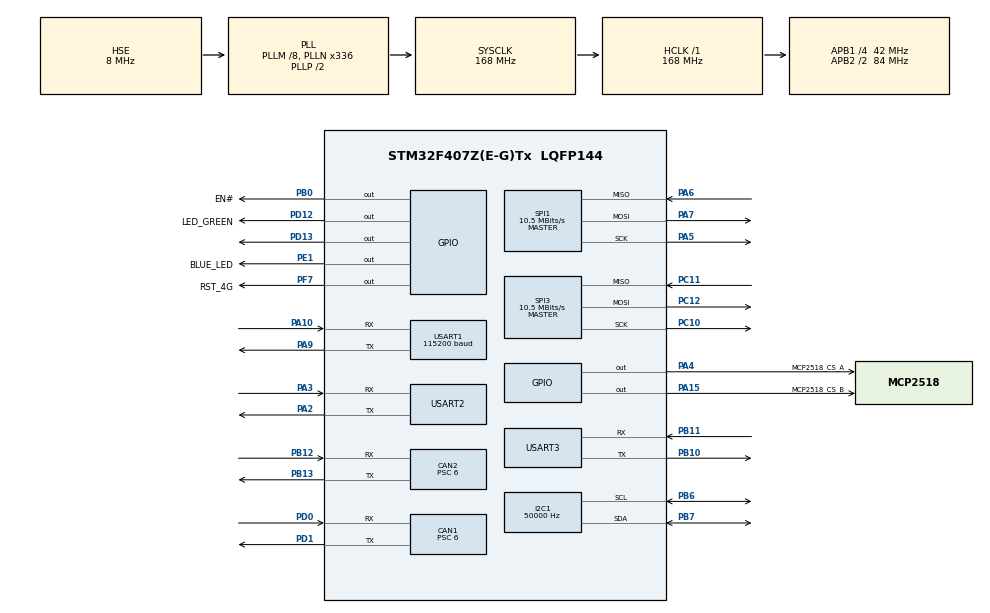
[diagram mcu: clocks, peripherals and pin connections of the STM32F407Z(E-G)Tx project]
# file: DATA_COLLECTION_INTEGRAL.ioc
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CAN1.AWUM=DISABLE
CAN1.BS1=CAN_BS1_12TQ
CAN1.CalculateBaudRate=500000
CAN1.CalculateTimeBit=2000
CAN1.CalculateTimeQuantum=142.85714285714286
CAN1.Prescaler=6
CAN1.TXFP=DISABLE
CAN2.AWUM=DISABLE
CAN2.BS1=CAN_BS1_12TQ
CAN2.CalculateBaudRate=500000
CAN2.CalculateTimeBit=2000
CAN2.CalculateTimeQuantum=142.85714285714286
CAN2.Prescaler=6
Dma.I2C1_RX.0.Direction=DMA_PERIPH_TO_MEMORY
Dma.I2C1_RX.0.FIFOMode=DMA_FIFOMODE_DISABLE
Dma.I2C1_RX.0.Instance=DMA1_Stream0
Dma.I2C1_RX.0.MemDataAlignment=DMA_MDATAALIGN_BYTE
Dma.I2C1_RX.0.MemInc=DMA_MINC_ENABLE
Dma.I2C1_RX.0.Mode=DMA_NORMAL
Dma.I2C1_RX.0.PeriphDataAlignment=DMA_PDATAALIGN_BYTE
Dma.I2C1_RX.0.PeriphInc=DMA_PINC_DISABLE
Dma.I2C1_RX.0.Priority=DMA_PRIORITY_LOW
Dma.I2C1_TX.6.Direction=DMA_MEMORY_TO_PERIPH
Dma.I2C1_TX.6.FIFOMode=DMA_FIFOMODE_DISABLE
Dma.I2C1_TX.6.Instance=DMA1_Stream6
Dma.I2C1_TX.6.MemDataAlignment=DMA_MDATAALIGN_BYTE
Dma.I2C1_TX.6.MemInc=DMA_MINC_ENABLE
Dma.I2C1_TX.6.Mode=DMA_NORMAL
Dma.I2C1_TX.6.PeriphDataAlignment=DMA_PDATAALIGN_BYTE
Dma.I2C1_TX.6.PeriphInc=DMA_PINC_DISABLE
Dma.I2C1_TX.6.Priority=DMA_PRIORITY_LOW
Dma.Request0=I2C1_RX
Dma.Request1=USART1_TX
Dma.Request2=USART2_RX
Dma.Request3=SPI1_RX
Dma.Request4=SPI3_RX
Dma.Request5=USART3_TX
Dma.Request6=I2C1_TX
Dma.Request7=SPI1_TX
Dma.Request8=SPI3_TX
Dma.Request9=USART1_RX
Dma.SPI1_RX.3.Direction=DMA_PERIPH_TO_MEMORY
Dma.SPI1_RX.3.FIFOMode=DMA_FIFOMODE_DISABLE
Dma.SPI1_RX.3.Instance=DMA2_Stream2
Dma.SPI1_RX.3.MemDataAlignment=DMA_MDATAALIGN_BYTE
Dma.SPI1_RX.3.MemInc=DMA_MINC_ENABLE
Dma.SPI1_RX.3.Mode=DMA_NORMAL
Dma.SPI1_RX.3.PeriphDataAlignment=DMA_PDATAALIGN_BYTE
Dma.SPI1_RX.3.PeriphInc=DMA_PINC_DISABLE
Dma.SPI1_RX.3.Priority=DMA_PRIORITY_LOW
Dma.SPI1_TX.7.Direction=DMA_MEMORY_TO_PERIPH
Dma.SPI1_TX.7.FIFOMode=DMA_FIFOMODE_DISABLE
Dma.SPI1_TX.7.Instance=DMA2_Stream3
Dma.SPI1_TX.7.MemDataAlignment=DMA_MDATAALIGN_BYTE
Dma.SPI1_TX.7.MemInc=DMA_MINC_ENABLE
Dma.SPI1_TX.7.Mode=DMA_NORMAL
Dma.SPI1_TX.7.PeriphDataAlignment=DMA_PDATAALIGN_BYTE
Dma.SPI1_TX.7.PeriphInc=DMA_PINC_DISABLE
Dma.SPI1_TX.7.Priority=DMA_PRIORITY_LOW
Dma.SPI3_RX.4.Direction=DMA_PERIPH_TO_MEMORY
Dma.SPI3_RX.4.FIFOMode=DMA_FIFOMODE_DISABLE
Dma.SPI3_RX.4.Instance=DMA1_Stream2
Dma.SPI3_RX.4.MemDataAlignment=DMA_MDATAALIGN_BYTE
Dma.SPI3_RX.4.MemInc=DMA_MINC_ENABLE
Dma.SPI3_RX.4.Mode=DMA_NORMAL
Dma.SPI3_RX.4.PeriphDataAlignment=DMA_PDATAALIGN_BYTE
Dma.SPI3_RX.4.PeriphInc=DMA_PINC_DISABLE
Dma.SPI3_RX.4.Priority=DMA_PRIORITY_MEDIUM
Dma.SPI3_TX.8.Direction=DMA_MEMORY_TO_PERIPH
Dma.SPI3_TX.8.FIFOMode=DMA_FIFOMODE_DISABLE
Dma.SPI3_TX.8.Instance=DMA1_Stream7
Dma.SPI3_TX.8.MemDataAlignment=DMA_MDATAALIGN_BYTE
Dma.SPI3_TX.8.MemInc=DMA_MINC_ENABLE
Dma.SPI3_TX.8.Mode=DMA_NORMAL
Dma.SPI3_TX.8.PeriphDataAlignment=DMA_PDATAALIGN_BYTE
Dma.SPI3_TX.8.PeriphInc=DMA_PINC_DISABLE
Dma.SPI3_TX.8.Priority=DMA_PRIORITY_MEDIUM
Dma.USART1_RX.9.Direction=DMA_PERIPH_TO_MEMORY
Dma.USART1_RX.9.FIFOMode=DMA_FIFOMODE_DISABLE
Dma.USART1_RX.9.Instance=DMA2_Stream5
Dma.USART1_RX.9.MemDataAlignment=DMA_MDATAALIGN_BYTE
Dma.USART1_RX.9.MemInc=DMA_MINC_ENABLE
Dma.USART1_RX.9.Mode=DMA_CIRCULAR
Dma.USART1_RX.9.PeriphDataAlignment=DMA_PDATAALIGN_BYTE
Dma.USART1_RX.9.PeriphInc=DMA_PINC_DISABLE
Dma.USART1_RX.9.Priority=DMA_PRIORITY_MEDIUM
Dma.USART1_TX.1.Direction=DMA_MEMORY_TO_PERIPH
Dma.USART1_TX.1.FIFOMode=DMA_FIFOMODE_DISABLE
Dma.USART1_TX.1.Instance=DMA2_Stream7
Dma.USART1_TX.1.MemDataAlignment=DMA_MDATAALIGN_BYTE
Dma.USART1_TX.1.MemInc=DMA_MINC_ENABLE
Dma.USART1_TX.1.Mode=DMA_NORMAL
Dma.USART1_TX.1.PeriphDataAlignment=DMA_PDATAALIGN_BYTE
Dma.USART1_TX.1.PeriphInc=DMA_PINC_DISABLE
Dma.USART1_TX.1.Priority=DMA_PRIORITY_HIGH
Dma.USART2_RX.2.Direction=DMA_PERIPH_TO_MEMORY
Dma.USART2_RX.2.FIFOMode=DMA_FIFOMODE_DISABLE
Dma.USART2_RX.2.Instance=DMA1_Stream5
Dma.USART2_RX.2.MemDataAlignment=DMA_MDATAALIGN_BYTE
Dma.USART2_RX.2.MemInc=DMA_MINC_ENABLE
Dma.USART2_RX.2.Mode=DMA_NORMAL
Dma.USART2_RX.2.PeriphDataAlignment=DMA_PDATAALIGN_BYTE
Dma.USART2_RX.2.PeriphInc=DMA_PINC_DISABLE
Dma.USART2_RX.2.Priority=DMA_PRIORITY_MEDIUM
Dma.USART3_TX.5.Direction=DMA_MEMORY_TO_PERIPH
Dma.USART3_TX.5.FIFOMode=DMA_FIFOMODE_DISABLE
Dma.USART3_TX.5.Instance=DMA1_Stream3
Dma.USART3_TX.5.MemDataAlignment=DMA_MDATAALIGN_BYTE
Dma.USART3_TX.5.MemInc=DMA_MINC_ENABLE
Dma.USART3_TX.5.Mode=DMA_NORMAL
Dma.USART3_TX.5.PeriphDataAlignment=DMA_PDATAALIGN_BYTE
Dma.USART3_TX.5.PeriphInc=DMA_PINC_DISABLE
Dma.USART3_TX.5.Priority=DMA_PRIORITY_LOW
FREERTOS.Queues01=App_Uart_Tx,2,App_Uart_Tx_Item_t,0,Static,App_Uart_TxBuffer,App_Uart_TxControlBlock;CAN_Msg_Queue,16,CAN_Msg_Queue_t,0,Static,CAN_Msg_QueueBuffer,CAN_Msg_QueueControlBlock;CAN_Msg_Queue_2,16,CAN_Msg_Queue_t,0,Static,CAN_Msg_Queue_2Buffer,CAN_Msg_Queue_2ControlBlock;PublishQueueItem,16,PublishQueueItem_t,0,Static,PublishQueueItemBuffer,PublishQueueItemControlBlock;VehicleCanTxQueue,8,CAN_Tx_Queue_t,0,Static,VehicleCanTxQueueBuffer,VehicleCanTxQueueControlBlock;task01DebugQueue,2,App_Uart_Tx_Item_t,0,Static,task01DebugQueueBuffer,task01DebugQueueControlBlock
FREERTOS.Tasks01=defaultTask,48,192,StartDefaultTask,Default,NULL,Static,defaultTaskBuffer,defaultTaskControlBlock;CanForViehcle,40,128,CanForViehcleTask,Default,NULL,Static,CanForViehcleBuffer,CanForViehcleControlBlock;CanForBMS,40,128,CanForBMSTask,Default,NULL,Static,CanForBMSTaskBuffer,CanForBMSTaskControlBlock;MLX90640,32,384,MLX90640Task,Default,NULL,Static,MLX90640Buffer,MLX90640ControlBlock;TensionSensor,8,128,TensionSensorTask,Default,NULL,Static,TensionSensorBuffer,TensionSensorControlBlock;SPICanControl,32,128,SPICanControlTask,Default,NULL,Static,SPICanControlBuffer,SPICanControlControlBlock;SPICanCDC,8,128,SPICanCDCTask,Default,NULL,Static,SPICanCDCBuffer,SPICanCDCControlBlock;Publish4G,48,192,Publish4GTask,Default,NULL,Static,Publish4GBuffer,Publish4GControlBlock;CanBText,48,512,CanBTextTask,Default,NULL,Static,CanBTextBuffer,CanBTextControlBlock;initTaskBoot,55,384,InitTask_Boot,Default,NULL,Static,initTaskBootBuffer,initTaskBootControlBlock
FREERTOS.configUSE_NEWLIB_REENTRANT=1
I2C1.ClockSpeed=50000
I2C1.I2C_Mode=I2C_Standard
Mcu.Family=STM32F4
Mcu.Name=STM32F407Z(E-G)Tx
Mcu.Package=LQFP144
NVIC.CAN1_RX0_IRQn=true\:5\:0\:false\:false\:true\:true\:true\:true\:true
NVIC.CAN1_RX1_IRQn=true\:5\:0\:false\:false\:true\:true\:true\:true\:true
NVIC.CAN1_SCE_IRQn=true\:5\:0\:false\:false\:true\:true\:true\:true\:true
NVIC.CAN2_RX0_IRQn=true\:5\:0\:false\:false\:true\:true\:true\:true\:true
NVIC.CAN2_RX1_IRQn=true\:5\:0\:false\:false\:true\:true\:true\:true\:true
NVIC.CAN2_SCE_IRQn=true\:5\:0\:false\:false\:true\:true\:true\:true\:true
NVIC.DMA1_Stream0_IRQn=true\:5\:0\:false\:false\:true\:true\:false\:true\:true
NVIC.DMA1_Stream2_IRQn=true\:5\:0\:false\:false\:true\:true\:false\:true\:true
NVIC.DMA1_Stream3_IRQn=true\:5\:0\:false\:false\:true\:true\:false\:true\:true
NVIC.DMA1_Stream5_IRQn=true\:5\:0\:false\:false\:true\:true\:false\:true\:true
NVIC.DMA1_Stream6_IRQn=true\:5\:0\:false\:false\:true\:true\:false\:true\:true
NVIC.DMA1_Stream7_IRQn=true\:5\:0\:false\:false\:true\:true\:false\:true\:true
NVIC.DMA2_Stream2_IRQn=true\:5\:0\:false\:false\:true\:true\:false\:true\:true
NVIC.DMA2_Stream3_IRQn=true\:5\:0\:false\:false\:true\:false\:false\:true\:true
NVIC.DMA2_Stream5_IRQn=true\:5\:0\:false\:false\:true\:false\:false\:true\:true
NVIC.DMA2_Stream7_IRQn=true\:5\:0\:false\:false\:true\:true\:false\:true\:true
NVIC.I2C1_ER_IRQn=true\:5\:0\:false\:false\:true\:true\:true\:true\:true
NVIC.I2C1_EV_IRQn=true\:5\:0\:false\:false\:true\:true\:true\:true\:true
NVIC.PriorityGroup=NVIC_PRIORITYGROUP_4
NVIC.TIM8_UP_TIM13_IRQn=true\:15\:0\:false\:false\:true\:false\:false\:true\:true
NVIC.TimeBase=TIM8_UP_TIM13_IRQn
NVIC.TimeBaseIP=TIM8
PA10.GPIO_PuPd=GPIO_PULLUP
PA10.Mode=Asynchronous
PA10.Signal=USART1_RX
PA13.Mode=Serial_Wire
PA13.Signal=SYS_JTMS-SWDIO
PA14.Mode=Serial_Wire
PA14.Signal=SYS_JTCK-SWCLK
PA15.GPIO_Label=MCP2518_CS_B
PA15.Signal=GPIO_Output
PA2.Mode=Asynchronous
PA2.Signal=USART2_TX
PA3.Mode=Asynchronous
PA3.Signal=USART2_RX
PA4.GPIO_Label=MCP2518_CS_A
PA4.Signal=GPIO_Output
PA5.Mode=Full_Duplex_Master
PA5.Signal=SPI1_SCK
PA6.Mode=Full_Duplex_Master
PA6.Signal=SPI1_MISO
PA7.Mode=Full_Duplex_Master
PA7.Signal=SPI1_MOSI
PA9.Mode=Asynchronous
PA9.Signal=USART1_TX
PB0.GPIO_Label=EN\#
PB0.Signal=GPIO_Output
PB10.Mode=Asynchronous
PB10.Signal=USART3_TX
PB11.Mode=Asynchronous
PB11.Signal=USART3_RX
PB12.GPIO_PuPd=GPIO_PULLUP
PB12.Mode=CAN_Activate
PB12.Signal=CAN2_RX
PB13.GPIO_PuPd=GPIO_PULLUP
PB13.Mode=CAN_Activate
PB13.Signal=CAN2_TX
PB6.Mode=I2C
PB6.Signal=I2C1_SCL
PB7.Mode=I2C
PB7.Signal=I2C1_SDA
PC10.Mode=Full_Duplex_Master
PC10.Signal=SPI3_SCK
PC11.Mode=Full_Duplex_Master
PC11.Signal=SPI3_MISO
PC12.Mode=Full_Duplex_Master
PC12.Signal=SPI3_MOSI
PC14-OSC32_IN.Mode=LSE-External-Oscillator
PC14-OSC32_IN.Signal=RCC_OSC32_IN
PC15-OSC32_OUT.Mode=LSE-External-Oscillator
PC15-OSC32_OUT.Signal=RCC_OSC32_OUT
PD0.GPIO_PuPd=GPIO_PULLUP
PD0.GPIO_Speed=GPIO_SPEED_FREQ_MEDIUM
PD0.Mode=CAN_Activate
PD0.Signal=CAN1_RX
PD1.GPIO_PuPd=GPIO_NOPULL
PD1.GPIO_Speed=GPIO_SPEED_FREQ_MEDIUM
PD1.Mode=CAN_Activate
PD1.Signal=CAN1_TX
PD12.GPIO_Label=LED_GREEN
PD12.Signal=GPIO_Output
PD13.Signal=GPIO_Output
PE1.GPIO_Label=BLUE_LED
PE1.Signal=GPIO_Output
PF7.GPIO_Label=RST_4G
PF7.Signal=GPIO_Output
PH0-OSC_IN.Mode=HSE-External-Oscillator
PH0-OSC_IN.Signal=RCC_OSC_IN
PH1-OSC_OUT.Mode=HSE-External-Oscillator
PH1-OSC_OUT.Signal=RCC_OSC_OUT
ProjectManager.HeapSize=0x200
ProjectManager.StackSize=0x400
ProjectManager.TargetToolchain=STM32CubeIDE
RCC.48MHZClocksFreq_Value=48000000
RCC.AHBFreq_Value=168000000
RCC.APB1CLKDivider=RCC_HCLK_DIV4
RCC.APB1Freq_Value=42000000
RCC.APB1TimFreq_Value=84000000
RCC.APB2CLKDivider=RCC_HCLK_DIV2
RCC.APB2Freq_Value=84000000
RCC.APB2TimFreq_Value=168000000
RCC.CortexFreq_Value=168000000
RCC.HCLKFreq_Value=168000000
RCC.HSE_VALUE=8000000
RCC.HSI_VALUE=16000000
RCC.PLLM=8
RCC.PLLN=336
RCC.PLLQ=7
RCC.PLLSourceVirtual=RCC_PLLSOURCE_HSE
RCC.RCC_RTC_Clock_Source=RCC_RTCCLKSOURCE_LSE
RCC.RCC_RTC_Clock_SourceVirtual=RCC_RTCCLKSOURCE_LSE
RCC.SYSCLKFreq_VALUE=168000000
RCC.SYSCLKSource=RCC_SYSCLKSOURCE_PLLCLK
RCC.VCOOutputFreq_Value=336000000
SPI1.BaudRatePrescaler=SPI_BAUDRATEPRESCALER_8
SPI1.CalculateBaudRate=10.5 MBits/s
SPI1.Direction=SPI_DIRECTION_2LINES
SPI1.Mode=SPI_MODE_MASTER
SPI1.VirtualType=VM_MASTER
SPI3.BaudRatePrescaler=SPI_BAUDRATEPRESCALER_4
SPI3.CalculateBaudRate=10.5 MBits/s
SPI3.Direction=SPI_DIRECTION_2LINES
SPI3.Mode=SPI_MODE_MASTER
SPI3.VirtualType=VM_MASTER
USART1.BaudRate=115200
USART1.VirtualMode=VM_ASYNC
USART2.VirtualMode=VM_ASYNC
USART3.VirtualMode=VM_ASYNC
VP_FREERTOS_VS_CMSIS_V2.Mode=CMSIS_V2
VP_SYS_VS_tim8.Mode=TIM8
board=custom

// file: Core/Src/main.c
/* USER CODE BEGIN Header */
/**
  ******************************************************************************
  * @file           : main.c
  * @brief          : Main program body
  ******************************************************************************
  * @attention
  *
  * Copyright (c) 2025 STMicroelectronics.
  * All rights reserved.
  *
  * This software is licensed under terms that can be found in the LICENSE file
  * in the root directory of this software component.
  * If no LICENSE file comes with this software, it is provided AS-IS.
  *
  ******************************************************************************
  */
/* USER CODE END Header */
#include "main.h"
#include "cmsis_os.h"
#include "can.h"
#include "dma.h"
#include "i2c.h"
#include "spi.h"
#include "usart.h"
#include "gpio.h"

/* USER CODE BEGIN Includes */
#include "stdio.h"
/* USER CODE END Includes */

void SystemClock_Config(void);
void MX_FREERTOS_Init(void);

int main(void)
{

  /* MCU Configuration--------------------------------------------------------*/

  /* Reset of all peripherals, Initializes the Flash interface and the Systick. */
  HAL_Init();

  /* Configure the system clock */
  SystemClock_Config();

  /* Initialize all configured peripherals */
  MX_GPIO_Init();
  MX_DMA_Init();
  MX_CAN1_Init();
  MX_CAN2_Init();
  MX_USART1_UART_Init();
  MX_I2C1_Init();
  MX_SPI1_Init();
  MX_USART2_UART_Init();
  MX_USART3_UART_Init();
  MX_SPI3_Init();
  /* USER CODE BEGIN 2 */

  /* 上电先拉高LED一次，用于确认主函数已运行到这里（toggle仍在RTOS任务中做） */
  HAL_GPIO_WritePin(GPIOD, GPIO_PIN_12, GPIO_PIN_SET);
  HAL_GPIO_WritePin(GPIOD, GPIO_PIN_13, GPIO_PIN_SET);

  /* MAX485: 默认置为“读/接收”模式（#EN=0） */
  HAL_GPIO_WritePin(EN_GPIO_Port, EN_Pin, GPIO_PIN_RESET);

  /* USER CODE END 2 */

  /* Init scheduler */
  osKernelInitialize();  /* Call init function for freertos objects (in cmsis_os2.c) */
  MX_FREERTOS_Init();

  /* Start scheduler */
  osKernelStart();

  /* We should never get here as control is now taken by the scheduler */

  /* Infinite loop */
  while (1)
  {

  }
}

void SystemClock_Config(void)
{
  RCC_OscInitTypeDef RCC_OscInitStruct = {0};
  RCC_ClkInitTypeDef RCC_ClkInitStruct = {0};

  /** Configure the main internal regulator output voltage
  */
  __HAL_RCC_PWR_CLK_ENABLE();
  __HAL_PWR_VOLTAGESCALING_CONFIG(PWR_REGULATOR_VOLTAGE_SCALE1);

  /** Initializes the RCC Oscillators according to the specified parameters
  * in the RCC_OscInitTypeDef structure.
  */
  RCC_OscInitStruct.OscillatorType = RCC_OSCILLATORTYPE_HSE;
  RCC_OscInitStruct.HSEState = RCC_HSE_ON;
  RCC_OscInitStruct.PLL.PLLState = RCC_PLL_ON;
  RCC_OscInitStruct.PLL.PLLSource = RCC_PLLSOURCE_HSE;
  RCC_OscInitStruct.PLL.PLLM = 8;
  RCC_OscInitStruct.PLL.PLLN = 336;
  RCC_OscInitStruct.PLL.PLLP = RCC_PLLP_DIV2;
  RCC_OscInitStruct.PLL.PLLQ = 7;
  if (HAL_RCC_OscConfig(&RCC_OscInitStruct) != HAL_OK)
  {
    Error_Handler();
  }

  /** Initializes the CPU, AHB and APB buses clocks
  */
  RCC_ClkInitStruct.ClockType = RCC_CLOCKTYPE_HCLK|RCC_CLOCKTYPE_SYSCLK
                              |RCC_CLOCKTYPE_PCLK1|RCC_CLOCKTYPE_PCLK2;
  RCC_ClkInitStruct.SYSCLKSource = RCC_SYSCLKSOURCE_PLLCLK;
  RCC_ClkInitStruct.AHBCLKDivider = RCC_SYSCLK_DIV1;
  RCC_ClkInitStruct.APB1CLKDivider = RCC_HCLK_DIV4;
  RCC_ClkInitStruct.APB2CLKDivider = RCC_HCLK_DIV2;

  if (HAL_RCC_ClockConfig(&RCC_ClkInitStruct, FLASH_LATENCY_5) != HAL_OK)
  {
    Error_Handler();
  }
}

void HAL_TIM_PeriodElapsedCallback(TIM_HandleTypeDef *htim)
{
  if (htim->Instance == TIM8)
  {
    HAL_IncTick();
  }
}

void Error_Handler(void)
{
  /* USER CODE BEGIN Error_Handler_Debug */
  /* User can add his own implementation to report the HAL error return state */
  __disable_irq();
  while (1)
  {
    HAL_GPIO_TogglePin(GPIOD, GPIO_PIN_13);
    for (volatile uint32_t delay = 0U; delay < 3000000U; delay++)
    {
    }
  }
  /* USER CODE END Error_Handler_Debug */
}

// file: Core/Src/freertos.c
/* USER CODE BEGIN Header */
/**
  ******************************************************************************
  * File Name          : freertos.c
  * Description        : Code for freertos applications
  ******************************************************************************
  * @attention
  *
  * Copyright (c) 2025 STMicroelectronics.
  * All rights reserved.
  *
  * This software is licensed under terms that can be found in the LICENSE file
  * in the root directory of this software component.
  * If no LICENSE file comes with this software, it is provided AS-IS.
  *
  ******************************************************************************
  */
/* USER CODE END Header */

#include "FreeRTOS.h"
#include "task.h"
#include "main.h"
#include "cmsis_os.h"

/* USER CODE BEGIN Includes */
#include "telemetry_data.h"
#include "can.h"
#include "can_decode.h"
#include "fdcan.h"
#include "gpio.h"
#include "mlx90640_app.h"
#include "MLX90640_API.h"
#include "publish.h"
#include "spi.h"
#include "usart.h"
#include "modem_transport.h"
#include "app_log.h"
#include "app_config.h"
#include "queue.h"
#include <string.h>
#include <stdbool.h>
#include "freertos_app.h"
/* USER CODE END Includes */

typedef StaticTask_t osStaticThreadDef_t;
typedef StaticQueue_t osStaticMessageQDef_t;

/* USER CODE BEGIN PD */
#define APP_4G_PUBLISH_LOG_ENABLED       0U
#define APP_SPICANA_READY_CHECK_ENABLED  1U
#define APP_SPICANA_POLL_ENABLED         1U
#define APP_SPICANA_DECODE_ENABLED       1U
#define APP_SPICANA_PUBLISH_ENABLED      1U
#define APP_MLX90640_PUBLISH_ENABLED     1U
#define APP_SPICDC_TASK_ENABLED          1U

/* USER CODE END PD */

/* USER CODE BEGIN Variables */
static volatile uint8_t g_bootInitDone = 0U;
static uint8_t g_mlxCurrentSensor = 0U;
static uint8_t g_rs485DmaBuffer[RS485_DMA_BUFFER_SIZE];
static volatile uint16_t g_rs485DmaLastEventPos = 0U;
static volatile uint16_t g_rs485DmaPendingBytes = 0U;
static volatile uint8_t g_rs485DmaOverflow = 0U;
static uint16_t g_rs485DmaReadPos = 0U;
#if APP_UPLINK_ENABLED
static uint8_t g_publishFrameBuffer[PUBLISH_MAX_PAYLOAD_SIZE];
static volatile uint16_t g_diagPublishPayloadLen = 0U;
static volatile int g_diagPublishStatus = 0;
static volatile uint32_t g_diagPublishOkCount = 0U;
static volatile uint32_t g_diagPublishFailCount = 0U;
#endif
/* USER CODE END Variables */
/* Definitions for defaultTask */
osThreadId_t defaultTaskHandle;
uint32_t defaultTaskBuffer[ 192 ];
osStaticThreadDef_t defaultTaskControlBlock;
const osThreadAttr_t defaultTask_attributes = {
  .name = "defaultTask",
  .cb_mem = &defaultTaskControlBlock,
  .cb_size = sizeof(defaultTaskControlBlock),
  .stack_mem = &defaultTaskBuffer[0],
  .stack_size = sizeof(defaultTaskBuffer),
  .priority = (osPriority_t) osPriorityRealtime,
};
/* Definitions for CanForViehcle */
osThreadId_t CanForViehcleHandle;
uint32_t CanForViehcleBuffer[ 128 ];
osStaticThreadDef_t CanForViehcleControlBlock;
const osThreadAttr_t CanForViehcle_attributes = {
  .name = "CanForViehcle",
  .cb_mem = &CanForViehcleControlBlock,
  .cb_size = sizeof(CanForViehcleControlBlock),
  .stack_mem = &CanForViehcleBuffer[0],
  .stack_size = sizeof(CanForViehcleBuffer),
  .priority = (osPriority_t) osPriorityHigh,
};
/* Definitions for CanForBMS */
osThreadId_t CanForBMSHandle;
uint32_t CanForBMSTaskBuffer[ 128 ];
osStaticThreadDef_t CanForBMSTaskControlBlock;
const osThreadAttr_t CanForBMS_attributes = {
  .name = "CanForBMS",
  .cb_mem = &CanForBMSTaskControlBlock,
  .cb_size = sizeof(CanForBMSTaskControlBlock),
  .stack_mem = &CanForBMSTaskBuffer[0],
  .stack_size = sizeof(CanForBMSTaskBuffer),
  .priority = (osPriority_t) osPriorityHigh,
};
/* Definitions for MLX90640 */
osThreadId_t MLX90640Handle;
uint32_t MLX90640Buffer[ 384 ];
osStaticThreadDef_t MLX90640ControlBlock;
const osThreadAttr_t MLX90640_attributes = {
  .name = "MLX90640",
  .cb_mem = &MLX90640ControlBlock,
  .cb_size = sizeof(MLX90640ControlBlock),
  .stack_mem = &MLX90640Buffer[0],
  .stack_size = sizeof(MLX90640Buffer),
  .priority = (osPriority_t) osPriorityAboveNormal,
};
/* Definitions for TensionSensor */
osThreadId_t TensionSensorHandle;
uint32_t TensionSensorBuffer[ 128 ];
osStaticThreadDef_t TensionSensorControlBlock;
const osThreadAttr_t TensionSensor_attributes = {
  .name = "TensionSensor",
  .cb_mem = &TensionSensorControlBlock,
  .cb_size = sizeof(TensionSensorControlBlock),
  .stack_mem = &TensionSensorBuffer[0],
  .stack_size = sizeof(TensionSensorBuffer),
  .priority = (osPriority_t) osPriorityLow,
};
/* Definitions for SPICanControl */
osThreadId_t SPICanControlHandle;
uint32_t SPICanControlBuffer[ 128 ];
osStaticThreadDef_t SPICanControlControlBlock;
const osThreadAttr_t SPICanControl_attributes = {
  .name = "SPICanControl",
  .cb_mem = &SPICanControlControlBlock,
  .cb_size = sizeof(SPICanControlControlBlock),
  .stack_mem = &SPICanControlBuffer[0],
  .stack_size = sizeof(SPICanControlBuffer),
  .priority = (osPriority_t) osPriorityAboveNormal,
};
/* Definitions for SPICanCDC */
osThreadId_t SPICanCDCHandle;
uint32_t SPICanCDCBuffer[ 128 ];
osStaticThreadDef_t SPICanCDCControlBlock;
const osThreadAttr_t SPICanCDC_attributes = {
  .name = "SPICanCDC",
  .cb_mem = &SPICanCDCControlBlock,
  .cb_size = sizeof(SPICanCDCControlBlock),
  .stack_mem = &SPICanCDCBuffer[0],
  .stack_size = sizeof(SPICanCDCBuffer),
  .priority = (osPriority_t) osPriorityLow,
};
/* Definitions for Publish4G */
osThreadId_t Publish4GHandle;
uint32_t Publish4GBuffer[ 192 ];
osStaticThreadDef_t Publish4GControlBlock;
const osThreadAttr_t Publish4G_attributes = {
  .name = "Publish4G",
  .cb_mem = &Publish4GControlBlock,
  .cb_size = sizeof(Publish4GControlBlock),
  .stack_mem = &Publish4GBuffer[0],
  .stack_size = sizeof(Publish4GBuffer),
  .priority = (osPriority_t) osPriorityRealtime,
};
/* Definitions for CanBText */
osThreadId_t CanBTextHandle;
uint32_t CanBTextBuffer[ 512 ];
osStaticThreadDef_t CanBTextControlBlock;
const osThreadAttr_t CanBText_attributes = {
  .name = "CanBText",
  .cb_mem = &CanBTextControlBlock,
  .cb_size = sizeof(CanBTextControlBlock),
  .stack_mem = &CanBTextBuffer[0],
  .stack_size = sizeof(CanBTextBuffer),
  .priority = (osPriority_t) osPriorityRealtime,
};
/* Definitions for initTaskBoot */
osThreadId_t initTaskBootHandle;
uint32_t initTaskBootBuffer[ 384 ];
osStaticThreadDef_t initTaskBootControlBlock;
const osThreadAttr_t initTaskBoot_attributes = {
  .name = "initTaskBoot",
  .cb_mem = &initTaskBootControlBlock,
  .cb_size = sizeof(initTaskBootControlBlock),
  .stack_mem = &initTaskBootBuffer[0],
  .stack_size = sizeof(initTaskBootBuffer),
  .priority = (osPriority_t) osPriorityRealtime7,
};
/* Definitions for App_Uart_Tx */
osMessageQueueId_t App_Uart_TxHandle;
uint8_t App_Uart_TxBuffer[ 2 * sizeof( App_Uart_Tx_Item_t ) ];
osStaticMessageQDef_t App_Uart_TxControlBlock;
const osMessageQueueAttr_t App_Uart_Tx_attributes = {
  .name = "App_Uart_Tx",
  .cb_mem = &App_Uart_TxControlBlock,
  .cb_size = sizeof(App_Uart_TxControlBlock),
  .mq_mem = &App_Uart_TxBuffer,
  .mq_size = sizeof(App_Uart_TxBuffer)
};
/* Definitions for CAN_Msg_Queue */
osMessageQueueId_t CAN_Msg_QueueHandle;
uint8_t CAN_Msg_QueueBuffer[ 16 * sizeof( CAN_Msg_Queue_t ) ];
osStaticMessageQDef_t CAN_Msg_QueueControlBlock;
const osMessageQueueAttr_t CAN_Msg_Queue_attributes = {
  .name = "CAN_Msg_Queue",
  .cb_mem = &CAN_Msg_QueueControlBlock,
  .cb_size = sizeof(CAN_Msg_QueueControlBlock),
  .mq_mem = &CAN_Msg_QueueBuffer,
  .mq_size = sizeof(CAN_Msg_QueueBuffer)
};
/* Definitions for CAN_Msg_Queue_2 */
osMessageQueueId_t CAN_Msg_Queue_2Handle;
uint8_t CAN_Msg_Queue_2Buffer[ 16 * sizeof( CAN_Msg_Queue_t ) ];
osStaticMessageQDef_t CAN_Msg_Queue_2ControlBlock;
const osMessageQueueAttr_t CAN_Msg_Queue_2_attributes = {
  .name = "CAN_Msg_Queue_2",
  .cb_mem = &CAN_Msg_Queue_2ControlBlock,
  .cb_size = sizeof(CAN_Msg_Queue_2ControlBlock),
  .mq_mem = &CAN_Msg_Queue_2Buffer,
  .mq_size = sizeof(CAN_Msg_Queue_2Buffer)
};
/* Definitions for PublishQueueItem */
osMessageQueueId_t PublishQueueItemHandle;
uint8_t PublishQueueItemBuffer[ 16 * sizeof( PublishQueueItem_t ) ];
osStaticMessageQDef_t PublishQueueItemControlBlock;
const osMessageQueueAttr_t PublishQueueItem_attributes = {
  .name = "PublishQueueItem",
  .cb_mem = &PublishQueueItemControlBlock,
  .cb_size = sizeof(PublishQueueItemControlBlock),
  .mq_mem = &PublishQueueItemBuffer,
  .mq_size = sizeof(PublishQueueItemBuffer)
};
/* Definitions for VehicleCanTxQueue */
osMessageQueueId_t VehicleCanTxQueueHandle;
uint8_t VehicleCanTxQueueBuffer[ 8 * sizeof( CAN_Tx_Queue_t ) ];
osStaticMessageQDef_t VehicleCanTxQueueControlBlock;
const osMessageQueueAttr_t VehicleCanTxQueue_attributes = {
  .name = "VehicleCanTxQueue",
  .cb_mem = &VehicleCanTxQueueControlBlock,
  .cb_size = sizeof(VehicleCanTxQueueControlBlock),
  .mq_mem = &VehicleCanTxQueueBuffer,
  .mq_size = sizeof(VehicleCanTxQueueBuffer)
};
/* Definitions for task01DebugQueue */
osMessageQueueId_t task01DebugQueueHandle;
uint8_t task01DebugQueueBuffer[ 2 * sizeof( App_Uart_Tx_Item_t ) ];
osStaticMessageQDef_t task01DebugQueueControlBlock;
const osMessageQueueAttr_t task01DebugQueue_attributes = {
  .name = "task01DebugQueue",
  .cb_mem = &task01DebugQueueControlBlock,
  .cb_size = sizeof(task01DebugQueueControlBlock),
  .mq_mem = &task01DebugQueueBuffer,
  .mq_size = sizeof(task01DebugQueueBuffer)
};

/* USER CODE BEGIN FunctionPrototypes */
static void App_WaitForBootInit(void);
static void CanVehicle_Dispatch(const CAN_Msg_Queue_t *recv_data);
static void CanBattery_Dispatch(const CAN_Msg_Queue_t *recv_data);
static void Rs485_Dispatch(const Peripheral_Rx_Frame_t *recv_data);
static void SpiCana_Dispatch(const Peripheral_Rx_Frame_t *recv_data);
static void SpiCdc_Dispatch(const Peripheral_Rx_Frame_t *recv_data);
static void VehicleCan_Send(const CAN_Tx_Queue_t *tx_data);

static void Mlx_SendSummary(uint8_t sensor_id);
static void Mlx_SendCanSummary(uint8_t sensor_id);
static uint32_t Mlx_GetCanSummaryId(uint8_t sensor_id);
static void Mlx_EncodeCanSummaryPair(int32_t centi_c, uint8_t *integer_part, uint8_t *fraction_part);
static void SpiCan_PollToQueue(const Peripheral_Rx_Frame_t *recv_data, FDCAN_Bus_t bus, osMessageQueueId_t queue_handle, uint8_t can_channel);
static bool SpiCana_Poll(const Peripheral_Rx_Frame_t *recv_data, FDCAN_Bus_t bus);
static void SpiCdc_Poll(const Peripheral_Rx_Frame_t *recv_data, FDCAN_Bus_t bus);
static HAL_StatusTypeDef Rs485_StartDma(void);
static void Rs485_DrainDmaBuffer(void);
static void Rs485_ProcessSpan(uint16_t start, uint16_t end);
static void Rs485_DispatchBytes(const uint8_t *data, uint16_t length);
/* USER CODE END FunctionPrototypes */

void StartDefaultTask(void *argument);
void CanForViehcleTask(void *argument);
void CanForBMSTask(void *argument);
void MLX90640Task(void *argument);
void TensionSensorTask(void *argument);
void SPICanControlTask(void *argument);
void SPICanCDCTask(void *argument);
void Publish4GTask(void *argument);
void CanBTextTask(void *argument);
void InitTask_Boot(void *argument);

void MX_FREERTOS_Init(void); /* (MISRA C 2004 rule 8.1) */

void MX_FREERTOS_Init(void) {
  /* USER CODE BEGIN Init */
  /* Task08 owns the whole publish egress path:
   * myQueue04 -> protobuf/frame assembly -> USART1 DMA.
   */
  CDC_Data_Clear();
  /* USER CODE END Init */

  /* Create the queue(s) */
  /* creation of App_Uart_Tx */
  App_Uart_TxHandle = osMessageQueueNew (2, sizeof(App_Uart_Tx_Item_t), &App_Uart_Tx_attributes);

  /* creation of CAN_Msg_Queue */
  CAN_Msg_QueueHandle = osMessageQueueNew (16, sizeof(CAN_Msg_Queue_t), &CAN_Msg_Queue_attributes);

  /* creation of CAN_Msg_Queue_2 */
  CAN_Msg_Queue_2Handle = osMessageQueueNew (16, sizeof(CAN_Msg_Queue_t), &CAN_Msg_Queue_2_attributes);

  /* creation of PublishQueueItem */
  PublishQueueItemHandle = osMessageQueueNew (16, sizeof(PublishQueueItem_t), &PublishQueueItem_attributes);

  /* creation of VehicleCanTxQueue */
  VehicleCanTxQueueHandle = osMessageQueueNew (8, sizeof(CAN_Tx_Queue_t), &VehicleCanTxQueue_attributes);

  /* creation of task01DebugQueue */
  task01DebugQueueHandle = osMessageQueueNew (2, sizeof(App_Uart_Tx_Item_t), &task01DebugQueue_attributes);

  /* Create the thread(s) */
  /* creation of defaultTask */
  defaultTaskHandle = osThreadNew(StartDefaultTask, NULL, &defaultTask_attributes);

  /* creation of CanForViehcle */
  CanForViehcleHandle = osThreadNew(CanForViehcleTask, NULL, &CanForViehcle_attributes);

  /* creation of CanForBMS */
  CanForBMSHandle = osThreadNew(CanForBMSTask, NULL, &CanForBMS_attributes);

  /* creation of MLX90640 */
  MLX90640Handle = osThreadNew(MLX90640Task, NULL, &MLX90640_attributes);

  /* creation of TensionSensor */
  TensionSensorHandle = osThreadNew(TensionSensorTask, NULL, &TensionSensor_attributes);

  /* creation of SPICanControl */
  SPICanControlHandle = osThreadNew(SPICanControlTask, NULL, &SPICanControl_attributes);

  /* creation of SPICanCDC */
  SPICanCDCHandle = osThreadNew(SPICanCDCTask, NULL, &SPICanCDC_attributes);

  /* creation of Publish4G */
  Publish4GHandle = osThreadNew(Publish4GTask, NULL, &Publish4G_attributes);

  /* creation of CanBText */
  CanBTextHandle = osThreadNew(CanBTextTask, NULL, &CanBText_attributes);

  /* creation of initTaskBoot */
  initTaskBootHandle = osThreadNew(InitTask_Boot, NULL, &initTaskBoot_attributes);

}

void StartDefaultTask(void *argument)
{
  /* USER CODE BEGIN StartDefaultTask */

  for(;;)
  {
    static uint32_t led_tick;
    if ((HAL_GetTick() - led_tick) >= 200U)
    {
      HAL_GPIO_TogglePin(GPIOD, GPIO_PIN_12);
      led_tick = HAL_GetTick();
    }
    App_LogProcess();
    osDelay(1);
  }
  /* USER CODE END StartDefaultTask */
}

void CanForViehcleTask(void *argument)
{
  /* USER CODE BEGIN CanForViehcleTask */
  CAN_Msg_Queue_t recv_data;

  App_WaitForBootInit();

  for(;;)
  {
    if(osMessageQueueGet(CAN_Msg_QueueHandle, &recv_data, NULL, pdMS_TO_TICKS(20U)) == osOK)
    {
      app_can_debug_log_rx_context("CAN2 RX", &g_can2_ctx);
      CanVehicle_Dispatch(&recv_data);
    }
    CAN_DecodeVehicleService(HAL_GetTick());
  }
  /* USER CODE END CanForViehcleTask */
}

void CanForBMSTask(void *argument)
{
  /* USER CODE BEGIN CanForBMSTask */
  CAN_Msg_Queue_t recv_data;

  App_WaitForBootInit();

  for(;;)
  {
    if(osMessageQueueGet(CAN_Msg_Queue_2Handle, &recv_data, NULL, pdMS_TO_TICKS(20U)) == osOK)
    {
      app_can_debug_log_rx_context("BAT RX",
          recv_data.can_channel == CAN_CHANNEL_BATTERY_BOX ? &g_can1_ctx : &g_can2_ctx);
      CanBattery_Dispatch(&recv_data);
    }
    CAN_DecodeBatteryService(HAL_GetTick());
  }
  /* USER CODE END CanForBMSTask */
}

void MLX90640Task(void *argument)
{
  /* USER CODE BEGIN MLX90640Task */
  uint32_t retry_tick[MLX90640_SENSOR_COUNT] = {0};
  uint8_t attempted[MLX90640_SENSOR_COUNT] = {0};

  App_WaitForBootInit();
  MLX90640_App_SetLogCallback(App_DebugLogString);
  MLX90640_App_Prepare();

  for(;;)
  {
    /* One channel at a time: successful channels capture without waiting for
     * the other channels to initialize. The shared I2C bus has one owner. */
    if (!MLX90640_App_IsSensorReady(g_mlxCurrentSensor) &&
        (!attempted[g_mlxCurrentSensor] ||
         (HAL_GetTick() - retry_tick[g_mlxCurrentSensor]) >= 2000U))
    {
      (void)MLX90640_App_InitSensor(g_mlxCurrentSensor);
      attempted[g_mlxCurrentSensor] = 1U;
      retry_tick[g_mlxCurrentSensor] = HAL_GetTick();
    }
    if (MLX90640_App_IsSensorReady(g_mlxCurrentSensor) != 0U)
    {
      int status = MLX90640_App_CaptureOnce(g_mlxCurrentSensor);
      if (status == MLX90640_NO_ERROR)
      {
        Mlx_SendSummary(g_mlxCurrentSensor);
        Mlx_SendCanSummary(g_mlxCurrentSensor);
#if (APP_MLX90640_PUBLISH_ENABLED != 0U)
        (void)Publish_QueueTopic(PUBLISH_TOPIC_THERMAL_SUMMARY);
#endif
      }
      else if ((status == -MLX90640_FRAME_NOT_READY_ERROR) ||
               (status == -MLX90640_FRAME_INCOMPLETE_ERROR))
      {
      }
      else
      {
        App_LogPrintf(
            "MLX90640 capture error, sensor=%u, status=%d\r\n",
            (unsigned int)g_mlxCurrentSensor, status);
      }
    }

    g_mlxCurrentSensor++;
    if (g_mlxCurrentSensor >= MLX90640_SENSOR_COUNT)
    {
      g_mlxCurrentSensor = 0U;

    }

    // HAL_GPIO_TogglePin(GPIOD, GPIO_PIN_13);
    osDelay(200);
  }
  /* USER CODE END MLX90640Task */
}

void TensionSensorTask(void *argument)
{
  /* USER CODE BEGIN TensionSensorTask */
  uint32_t flags = 0U;
  uint8_t dma_running = 0U;

  HAL_GPIO_WritePin(EN_GPIO_Port, EN_Pin, GPIO_PIN_RESET);
  g_rs485DmaLastEventPos = 0U;
  g_rs485DmaPendingBytes = 0U;
  g_rs485DmaOverflow = 0U;
  g_rs485DmaReadPos = 0U;

  App_WaitForBootInit();

  for(;;)
  {
    if (dma_running == 0U)
    {
      if (Rs485_StartDma() != HAL_OK)
      {
        App_DebugLogString("USART2 RX DMA start failed\r\n");
        osDelay(100);
        continue;
      }
      dma_running = 1U;
    }

    flags = osThreadFlagsWait(RS485_FLAG_RX_READY | RS485_FLAG_RX_RESTART,
                              osFlagsWaitAny, osWaitForever);

    if ((flags & RS485_FLAG_RX_READY) != 0U)
    {
      Rs485_DrainDmaBuffer();
    }
    if ((flags & RS485_FLAG_RX_RESTART) != 0U)
    {
      dma_running = 0U;
      App_DebugLogString("USART2 RX DMA restart\r\n");
    }
    osDelay(200);
  }
  /* USER CODE END TensionSensorTask */
}

void SPICanControlTask(void *argument)
{
  /* USER CODE BEGIN SPICanControlTask */
  Peripheral_Rx_Frame_t recv_data = {0};

  App_WaitForBootInit();

  for(;;)
  {
#if (APP_SPICANA_READY_CHECK_ENABLED != 0U)
    if (FDCAN_IsReady(FDCAN_BUS_A))
    {
      SpiCana_Dispatch(&recv_data);
    }
#else
    (void)recv_data;
#endif
    osDelay(200);
  }
  /* USER CODE END SPICanControlTask */
}

void SPICanCDCTask(void *argument)
{
  /* USER CODE BEGIN SPICanCDCTask */
  Peripheral_Rx_Frame_t recv_data = {0};

  App_WaitForBootInit();

  for(;;)
  {
    if (FDCAN_IsReady(FDCAN_BUS_B))
    {
      SpiCdc_Dispatch(&recv_data);
    }
    (void)Publish_QueueTopic(PUBLISH_TOPIC_VEHICLE_STATE);
    osDelay(2);
  }
  /* USER CODE END SPICanCDCTask */
}

void Publish4GTask(void *argument)
{
  /* USER CODE BEGIN Publish4GTask */
#if (APP_UPLINK_ENABLED == 0U)
  /* Keep this guard inside USER CODE so CubeMX regeneration stays safe. */
  (void)argument;
  osThreadExit();
#else
  PublishQueueItem_t item;
  uint16_t frame_length = 0U;
  HAL_StatusTypeDef tx_status = HAL_OK;
  uint32_t wait_log_tick = 0U;

  App_WaitForBootInit();

  /* Only the publishing task owns modem initialization. */
  Modem_Init();

  for(;;)
  {
    if (Modem_IsReady() == 0U)
    {
      uint32_t now = HAL_GetTick();
      if ((APP_4G_PUBLISH_LOG_ENABLED != 0U) && ((now - wait_log_tick) >= 1000U))
      {
        App_DebugLogString("[4G-PUB] waiting for DTU UART ready\r\n");
        wait_log_tick = now;
      }
      osDelay(100);
      continue;
    }

    if (osMessageQueueGet(PublishQueueItemHandle, &item, NULL, osWaitForever) == osOK)
    {
      Publish_OnTopicDequeued(item.topic);

      if (Publish_BuildFrame(item.topic, g_publishFrameBuffer,
                             (uint16_t)sizeof(g_publishFrameBuffer), &frame_length))
      {
        g_diagPublishPayloadLen = frame_length;
        tx_status = Modem_Send(g_publishFrameBuffer, frame_length);
        g_diagPublishStatus = (int)tx_status;

        if (tx_status == HAL_OK)
        {
          g_diagPublishOkCount++;
          osDelay(PUBLISH_COOLDOWN_MS);
        }
        else
        {
          g_diagPublishFailCount++;
          if (APP_4G_PUBLISH_LOG_ENABLED != 0U)
          {
            App_LogPrintf(
                         "[PUB-DIAG] send fail len=%u status=%d ok=%lu fail=%lu\r\n",
                         (unsigned int)g_diagPublishPayloadLen,
                         g_diagPublishStatus,
                         (unsigned long)g_diagPublishOkCount,
                         (unsigned long)g_diagPublishFailCount);
          }
          osDelay(1000U);
          (void)Publish_QueueTopic(item.topic);
        }
      }
      else
      {
        g_diagPublishFailCount++;
        if (APP_4G_PUBLISH_LOG_ENABLED != 0U)
        {
          App_LogPrintf(
                       "[PUB-DIAG] build frame failed topic=%u fail=%lu\r\n",
                       (unsigned int)item.topic,
                       (unsigned long)g_diagPublishFailCount);
        }
        osDelay(1000U);
        (void)Publish_QueueTopic(item.topic);
      }
      osDelay(200);
    }
  }
#endif
  /* USER CODE END Publish4GTask */
}

void CanBTextTask(void *argument)
{
  /* USER CODE BEGIN CanBTextTask */
  CAN_Tx_Queue_t tx_data;
  App_WaitForBootInit();
  for(;;)
  {
    if (osMessageQueueGet(VehicleCanTxQueueHandle, &tx_data, NULL, osWaitForever) == osOK)
    {
      VehicleCan_Send(&tx_data);
    }
    osDelay(1);
  }
  /* USER CODE END CanBTextTask */
}

void InitTask_Boot(void *argument)
{
  /* USER CODE BEGIN InitTask_Boot */
  int retry;

  App_DebugLogString("\r\n=== Boot Init Start ===\r\n");

  App_DebugLogString("[BOOT] CAN start begin\r\n");
  CAN_Start();
  App_DebugLogString("[BOOT] CAN start done\r\n");

  App_DebugLogString("[BOOT] MCP2518FD-A init...\r\n");
 for (retry = 0; retry < 3; retry++)
 {
   if (FDCAN_Init(FDCAN_BUS_A) == HAL_OK)
   {
     App_DebugLogString("[BOOT] MCP2518FD-A init ok\r\n");
     break;
   }
   App_DebugLogString("[BOOT] MCP2518FD-A retry...\r\n");
   HAL_Delay(10);
 }
 if (retry >= 3)
 {
   App_DebugLogString("[BOOT] MCP2518FD-A init FAILED after 3 retries\r\n");
 }
  HAL_Delay(10);//初始化就不要考虑CPU让渡问题了
  App_DebugLogString("[BOOT] MCP2518FD-B init...\r\n");
#if (APP_SPICDC_TASK_ENABLED != 0U)
  for (retry = 0; retry < 3; retry++)
  {
    if (FDCAN_Init(FDCAN_BUS_B) == HAL_OK)
    {
      App_DebugLogString("[BOOT] MCP2518FD-B init ok\r\n");
      break;
    }
    App_DebugLogString("[BOOT] MCP2518FD-B retry...\r\n");
    HAL_Delay(10);
  }
  if (retry >= 3)
  {
    App_DebugLogString("[BOOT] MCP2518FD-B init FAILED after 3 retries\r\n");
  }
#endif

  g_bootInitDone = 1U;
  App_DebugLogString("=== Local Hardware Init Complete ===\r\n");
  osThreadExit();
  /* USER CODE END InitTask_Boot */
}

/* USER CODE BEGIN Application */

static void App_WaitForBootInit(void)
{
  while (g_bootInitDone == 0U)
  {
    osDelay(100U);
  }
}

static HAL_StatusTypeDef Rs485_StartDma(void)
{
  /* Restart ReceiveToIdle DMA and reset all ring-buffer tracking state. */
  (void)HAL_UART_DMAStop(&huart2);
  __HAL_UART_CLEAR_OREFLAG(&huart2);

  g_rs485DmaLastEventPos = 0U;
  g_rs485DmaPendingBytes = 0U;
  g_rs485DmaOverflow = 0U;
  g_rs485DmaReadPos = 0U;

  return HAL_UARTEx_ReceiveToIdle_DMA(&huart2,
                                      g_rs485DmaBuffer,
                                      (uint16_t)sizeof(g_rs485DmaBuffer));
}

static void Rs485_DrainDmaBuffer(void)
{
  /* Drain the circular buffer in order and hand byte spans to the parser. */
  for (;;)
  {
    uint16_t pending_bytes = 0U;
    uint16_t contiguous_bytes = 0U;

    taskENTER_CRITICAL();
    pending_bytes = g_rs485DmaPendingBytes;
    taskEXIT_CRITICAL();

    if (pending_bytes == 0U)
    {
      break;
    }

    contiguous_bytes = pending_bytes;
    if ((uint16_t)(sizeof(g_rs485DmaBuffer) - g_rs485DmaReadPos) < contiguous_bytes)
    {
      contiguous_bytes = (uint16_t)(sizeof(g_rs485DmaBuffer) - g_rs485DmaReadPos);
    }

    Rs485_ProcessSpan(g_rs485DmaReadPos,
                                (uint16_t)(g_rs485DmaReadPos + contiguous_bytes));

    taskENTER_CRITICAL();
    if (g_rs485DmaPendingBytes >= contiguous_bytes)
    {
      g_rs485DmaPendingBytes = (uint16_t)(g_rs485DmaPendingBytes - contiguous_bytes);
    }
    else
    {
      g_rs485DmaPendingBytes = 0U;
    }
    g_rs485DmaReadPos = (uint16_t)((g_rs485DmaReadPos + contiguous_bytes) % sizeof(g_rs485DmaBuffer));
    taskEXIT_CRITICAL();
  }

  if (g_rs485DmaOverflow != 0U)
  {
    g_rs485DmaOverflow = 0U;
    App_DebugLogString("USART2 RX DMA overflow\r\n");
  }
}

static void Rs485_ProcessSpan(uint16_t start, uint16_t end)
{
  /* Split wrapped spans so the parser always sees a linear byte slice. */
  if (start == end)
  {
    return;
  }

  if (end > start)
  {
    Rs485_DispatchBytes(&g_rs485DmaBuffer[start], (uint16_t)(end - start));
    return;
  }

  Rs485_DispatchBytes(&g_rs485DmaBuffer[start],
                                (uint16_t)(sizeof(g_rs485DmaBuffer) - start));
  if (end > 0U)
  {
    Rs485_DispatchBytes(&g_rs485DmaBuffer[0], end);
  }
}

static void Rs485_DispatchBytes(const uint8_t *data, uint16_t length)
{
  /* Repackage arbitrary RS485 bytes into the generic receive-frame wrapper. */
  Peripheral_Rx_Frame_t recv_data = {0};

  if ((data == NULL) || (length == 0U))
  {
    return;
  }

  while (length > 0U)
  {
    uint16_t chunk = length;
    if (chunk > (uint16_t)sizeof(recv_data.data))
    {
      chunk = (uint16_t)sizeof(recv_data.data);
    }

    recv_data.length = chunk;
    (void)memcpy(recv_data.data, data, chunk);
    Rs485_Dispatch(&recv_data);

    data += chunk;
    length = (uint16_t)(length - chunk);
  }
}

void HAL_UARTEx_RxEventCallback(UART_HandleTypeDef *huart, uint16_t Size)
{
  if ((huart != NULL) && (huart->Instance == USART2))
  {
    HAL_UART_RxEventTypeTypeDef event_type = HAL_UARTEx_GetRxEventType(huart);
    uint16_t current_pos = Size;
    uint16_t delta = 0U;
    uint16_t pending = 0U;

    if (current_pos > (uint16_t)sizeof(g_rs485DmaBuffer))
    {
      current_pos = (uint16_t)sizeof(g_rs485DmaBuffer);
    }

    if (event_type == HAL_UART_RXEVENT_TC)
    {
      delta = (uint16_t)(sizeof(g_rs485DmaBuffer) - g_rs485DmaLastEventPos);
      current_pos = 0U;
    }
    else if (current_pos >= g_rs485DmaLastEventPos)
    {
      delta = (uint16_t)(current_pos - g_rs485DmaLastEventPos);
    }
    else
    {
      delta = (uint16_t)((sizeof(g_rs485DmaBuffer) - g_rs485DmaLastEventPos) + current_pos);
    }

    g_rs485DmaLastEventPos = current_pos;
    pending = (uint16_t)(g_rs485DmaPendingBytes + delta);
    if (pending > (uint16_t)sizeof(g_rs485DmaBuffer))
    {
      g_rs485DmaPendingBytes = (uint16_t)sizeof(g_rs485DmaBuffer);
      g_rs485DmaOverflow = 1U;
    }
    else
    {
      g_rs485DmaPendingBytes = pending;
    }

    if (TensionSensorHandle != NULL)
    {
      (void)osThreadFlagsSet(TensionSensorHandle, RS485_FLAG_RX_READY);
    }
  }

  if ((huart != NULL) && (huart->Instance == USART1))
  {
#if APP_UPLINK_ENABLED
    Modem_OnRxEvent(Size);
#endif
  }
}

void HAL_UART_ErrorCallback(UART_HandleTypeDef *huart)
{
  if ((huart != NULL) && (huart->Instance == USART2))
  {
    if (TensionSensorHandle != NULL)
    {
      (void)osThreadFlagsSet(TensionSensorHandle, RS485_FLAG_RX_RESTART);
    }
  }
}

static void Mlx_SendSummary(uint8_t sensor_id)
{
  App_LogPrintf(
      "MLX90640 capture ok, sensor=%u, frames=%lu\r\n",
      (unsigned int)sensor_id,
      (unsigned long)g_MLX90640_Frame.FrameCounter[sensor_id]);
}

static void Mlx_SendCanSummary(uint8_t sensor_id)
{
  CAN_Tx_Queue_t tx_data = {0};
  osStatus_t queue_status;

  tx_data.std_id = Mlx_GetCanSummaryId(sensor_id);
  if (tx_data.std_id == 0U)
  {
    return;
  }

  for (uint8_t region_index = 0U; region_index < MLX90640_REGION_COUNT; region_index++)
  {
    Mlx_EncodeCanSummaryPair(
        g_MLX90640_Frame.RegionTemp[sensor_id][region_index],
        &tx_data.data[region_index * 2U],
        &tx_data.data[(region_index * 2U) + 1U]);
  }

  queue_status = freertos_vehicle_can_tx_queue_put(&tx_data, 0U);
  if (queue_status != osOK)
  {
    App_LogPrintf(
        "MLX CAN queue drop, sensor=%u, id=0x%03lX, status=%ld\r\n",
        (unsigned int)sensor_id,
        (unsigned long)tx_data.std_id,
        (long)queue_status);

  }
}

static uint32_t Mlx_GetCanSummaryId(uint8_t sensor_id)
{
  switch (sensor_id)
  {
    case 0U:
      return CAN_ID_CANB_THERMAL_SUMMARY_FR;
    case 1U:
      return CAN_ID_CANB_THERMAL_SUMMARY_FL;
    case 2U:
      return CAN_ID_CANB_THERMAL_SUMMARY_RL;
    case 3U:
      return CAN_ID_CANB_THERMAL_SUMMARY_RR;
    default:
      return 0U;
  }
}

static void Mlx_EncodeCanSummaryPair(int32_t centi_c, uint8_t *integer_part, uint8_t *fraction_part)
{
  uint32_t value;

  if ((integer_part == NULL) || (fraction_part == NULL))
  {
    return;
  }

  if (centi_c < 0)
  {
    value = 0U;
  }
  else
  {
    value = (uint32_t)centi_c;
  }

  *integer_part = (uint8_t)(((value / 100U) > 255U) ? 255U : (value / 100U));
  *fraction_part = (uint8_t)(value % 100U);
}
osStatus_t freertos_can_queue_send_from_isr(const CAN_Msg_Queue_t *pData)
{
  osMessageQueueId_t queue_handle = NULL;

  if(pData == NULL)
  {
    return osErrorParameter;
  }

  if(CAN_IsBatteryCanbMessage(pData))
  {
    queue_handle = CAN_Msg_Queue_2Handle;
  }
  else if(pData->can_channel == CAN_CHANNEL_VEHICLE_CANB)
  {
    queue_handle = CAN_Msg_QueueHandle;
  }
  else if(pData->can_channel == CAN_CHANNEL_BATTERY_BOX)
  {
    queue_handle = CAN_Msg_Queue_2Handle;
  }

  if(queue_handle == NULL)
  {
    return osErrorParameter;
  }

  QueueHandle_t xQueue = (QueueHandle_t)queue_handle;
  BaseType_t xHigherPriorityTaskWoken = pdFALSE;
  BaseType_t xResult = xQueueSendFromISR(xQueue, pData, &xHigherPriorityTaskWoken);

  portYIELD_FROM_ISR(xHigherPriorityTaskWoken);

  return (xResult == pdPASS) ? osOK : osError;
}

osStatus_t freertos_vehicle_can_tx_queue_put(const CAN_Tx_Queue_t *pData, uint32_t timeout_ms)
{
  if(VehicleCanTxQueueHandle == NULL || pData == NULL)
  {
    return osErrorParameter;
  }

  return osMessageQueuePut(VehicleCanTxQueueHandle, pData, 0U, timeout_ms);
}

static void SpiCan_PollToQueue(const Peripheral_Rx_Frame_t *recv_data, FDCAN_Bus_t bus, osMessageQueueId_t queue_handle, uint8_t can_channel)
{
  CAN_Msg_Queue_t queue_item;
  FDCAN_StdFrame_t rx_frame;
  uint8_t received = 0U;

  if ((recv_data == NULL) || (queue_handle == NULL) || (FDCAN_IsReady(bus) == 0U))
  {
    return;
  }

  do
  {
    if (FDCAN_Poll(bus, &rx_frame, &received) != HAL_OK || (received == 0U))
    {
      return;
    }

    if ((rx_frame.frame_format != FDCAN_FRAME_CLASSIC) || (rx_frame.length > 8U))
    {
      continue;
    }

    queue_item.can_channel = can_channel;
    queue_item.msg_id = rx_frame.std_id;
    queue_item.dlc = rx_frame.length;
    queue_item.is_ext_id = 0U;
    (void)memset(queue_item.msg_data, 0, sizeof(queue_item.msg_data));
    (void)memcpy(queue_item.msg_data, rx_frame.data, rx_frame.length);
    (void)osMessageQueuePut(queue_handle, &queue_item, 0U, 0U);
  } while (received != 0U);
}

static bool SpiCana_Poll(const Peripheral_Rx_Frame_t *recv_data, FDCAN_Bus_t bus)
{
  CAN_Msg_Queue_t frame_data;
  FDCAN_StdFrame_t rx_frame;
  uint8_t received = 0U;
  bool decoded_any = false;

  if ((recv_data == NULL) || (FDCAN_IsReady(bus) == 0U))
  {
    return false;
  }

  do
  {
    if (FDCAN_Poll(bus, &rx_frame, &received) != HAL_OK || (received == 0U))
    {
      return decoded_any;
    }

    if ((rx_frame.frame_format != FDCAN_FRAME_CLASSIC) || (rx_frame.length > 8U))
    {
      continue;
    }

    frame_data.can_channel = CAN_CHANNEL_CONTROLLER_CANA;
    frame_data.msg_id = rx_frame.std_id;
    frame_data.dlc = rx_frame.length;
    frame_data.is_ext_id = 0U;
    (void)memset(frame_data.msg_data, 0, sizeof(frame_data.msg_data));
    (void)memcpy(frame_data.msg_data, rx_frame.data, rx_frame.length);
    HAL_GPIO_TogglePin(GPIOD, GPIO_PIN_13);
#if (APP_SPICANA_DECODE_ENABLED != 0U)
    CAN_DecodeControllerCanaMessage(&frame_data);
#endif
    decoded_any = true;
  } while (received != 0U);

  return decoded_any;
}

static void SpiCdc_Poll(const Peripheral_Rx_Frame_t *recv_data, FDCAN_Bus_t bus)
{
  CAN_Msg_Queue_t frame_data;
  FDCAN_StdFrame_t rx_frame;
  uint8_t received = 0U;

  if ((recv_data == NULL) || (FDCAN_IsReady(bus) == 0U))
  {
    return;
  }

  uint8_t budget = 32U;
  do
  {
    if (FDCAN_Poll(bus, &rx_frame, &received) != HAL_OK || (received == 0U))
    {
      return;
    }

    if ((rx_frame.frame_format != FDCAN_FRAME_CLASSIC) || (rx_frame.length > 8U))
    {
      continue;
    }

    frame_data.can_channel = CAN_CHANNEL_CDC_MONITOR;
    frame_data.msg_id = rx_frame.std_id;
    frame_data.dlc = rx_frame.length;
    frame_data.is_ext_id = 0U;
    (void)memset(frame_data.msg_data, 0, sizeof(frame_data.msg_data));
    (void)memcpy(frame_data.msg_data, rx_frame.data, rx_frame.length);
    CAN_DecodeCdcMonitorMessage(&frame_data);
  } while ((received != 0U) && (--budget != 0U));
}

static void CanVehicle_Dispatch(const CAN_Msg_Queue_t *recv_data)
{
  if (recv_data == NULL)
  {
    return;
  }

  if (recv_data->can_channel == CAN_CHANNEL_VEHICLE_CANB)
  {
    CAN_DecodeVehicleCanbMessage(recv_data);
    (void)Publish_QueueTopic(PUBLISH_TOPIC_FAST_TELEMETRY);
    (void)Publish_QueueTopic(PUBLISH_TOPIC_VEHICLE_STATE);
    (void)Publish_QueueTopic(PUBLISH_TOPIC_BMS_SUMMARY);
  }
}

static void CanBattery_Dispatch(const CAN_Msg_Queue_t *recv_data)
{
  CAN_DecodeBatteryBoxMessage(recv_data);
  (void)Publish_QueueTopic(PUBLISH_TOPIC_FAST_TELEMETRY);
  (void)Publish_QueueTopic(PUBLISH_TOPIC_BMS_SUMMARY);
  (void)Publish_QueueTopic(PUBLISH_TOPIC_BMS_DETAIL);
}

static void Rs485_Dispatch(const Peripheral_Rx_Frame_t *recv_data)
{
  (void)recv_data;
  /* USART2 + EN# RS485 parser entry. */
}

static void SpiCana_Dispatch(const Peripheral_Rx_Frame_t *recv_data)
{
#if (APP_SPICANA_POLL_ENABLED != 0U)
  if (SpiCana_Poll(recv_data, FDCAN_BUS_A))
  {
#if (APP_SPICANA_PUBLISH_ENABLED != 0U)
    (void)Publish_QueueTopic(PUBLISH_TOPIC_VEHICLE_STATE);
    (void)Publish_QueueTopic(PUBLISH_TOPIC_BMS_SUMMARY);
#endif
  }
#else
  (void)recv_data;
#endif
}

static void SpiCdc_Dispatch(const Peripheral_Rx_Frame_t *recv_data)
{
  SpiCdc_Poll(recv_data, FDCAN_BUS_B);
}

static void VehicleCan_Send(const CAN_Tx_Queue_t *tx_data)
{
  if (tx_data == NULL)
  {
    return;
  }
  CAN_Send_Msg(&hcan2, tx_data->std_id, (uint8_t *)tx_data->data);
  if (g_can2_ctx.last_tx_status != HAL_OK)
  {
    App_LogPrintf(
        "CAN2 tx fail, id=0x%03lX, free=%lu, err=0x%08lX, req=%lu, drop=%lu, abort=%lu, ast=%lu, afree=%lu, aerr=0x%08lX\r\n",
        (unsigned long)tx_data->std_id,
        (unsigned long)g_can2_ctx.last_tx_free_level,
        (unsigned long)g_can2_ctx.last_tx_error,
        (unsigned long)g_can2_ctx.tx_request_count,
        (unsigned long)g_can2_ctx.tx_drop_count,
        (unsigned long)g_can2_ctx.tx_abort_count,
        (unsigned long)g_can2_ctx.last_tx_abort_status,
        (unsigned long)g_can2_ctx.last_tx_free_after_abort,
        (unsigned long)g_can2_ctx.last_tx_error_after_abort);

  }
  // HAL_GPIO_TogglePin(GPIOD, GPIO_PIN_13);
}
/* USER CODE END Application */
